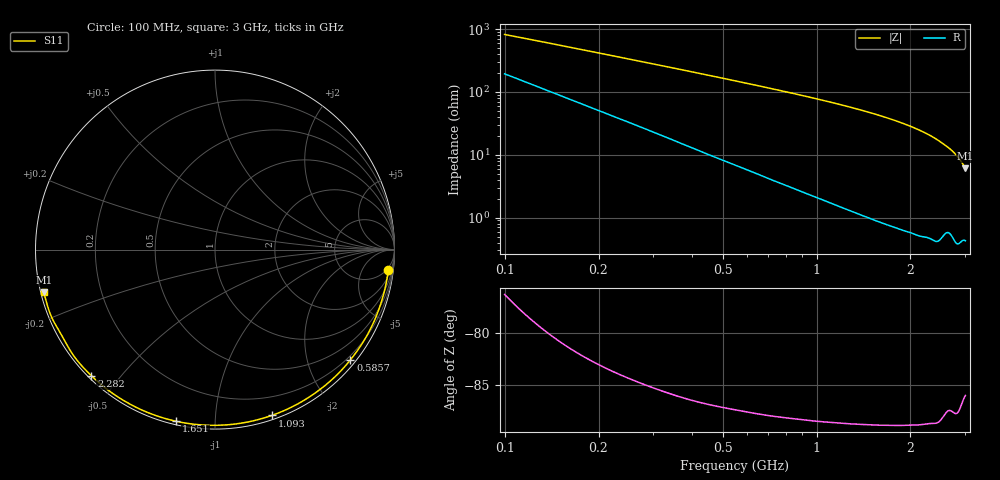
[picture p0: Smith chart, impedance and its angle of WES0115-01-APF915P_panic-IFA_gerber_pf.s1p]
! openEMS-z2labs kicad_sim, WES0115-01-APF915P_panic-IFA.kicad_pcb
! ports: 1=SMA5 (F.Cu over B.Cu)
! stackup: file
! copper: sheet, mask: False
# Hz S RI R 50
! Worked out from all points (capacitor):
!   401 points, 100 MHz to 3 GHz, reference 50 ohm
!   read as one part to ground: C = 1.93 pF near 114.5 MHz
!   lowest |Z| = 6.13 ohm at 3 GHz (marker M1)
!   S11 on the Smith chart (normalised r, x): 100 MHz: 4, -16; 585.8 MHz: 0.12, -2.80; 1.093 GHz: 0.04, -1.40; 1.651 GHz: 0.02, -0.80; 2.282 GHz: 0.01, -0.42; 3 GHz: 0.01, -0.12
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1e8  0.965 -0.1144
1.145e8  0.963 -0.131
1.87e8  0.9482 -0.2132
2.8125e8  0.9188 -0.3164
3.6825e8  0.8825 -0.4081
4.625e8  0.833 -0.5024
5.8575e8  0.7543 -0.6149
7.09e8  0.6623 -0.7143
8.25e8  0.5653 -0.794
9.6275e8  0.441 -0.8704
1.09325e9  0.3167 -0.9239
1.1875e9  0.225 -0.9511
1.2745e9  0.1398 -0.968
1.3615e9  0.0549 -0.9771
1.45575e9  -0.0357 -0.9787
1.55e9  -0.1245 -0.9722
1.6515e9  -0.2171 -0.9564
1.782e9  -0.3304 -0.9243
1.9125e9  -0.4364 -0.8801
2.101e9  -0.5743 -0.7985
2.275e9  -0.6842 -0.707
2.28225e9  -0.6884 -0.703
2.47075e9  -0.7891 -0.5888
2.6375e9  -0.8519 -0.4815
2.739e9  -0.8884 -0.4192
2.83325e9  -0.9197 -0.3537
2.94925e9  -0.9449 -0.2713
3e9  -0.9543 -0.2368
